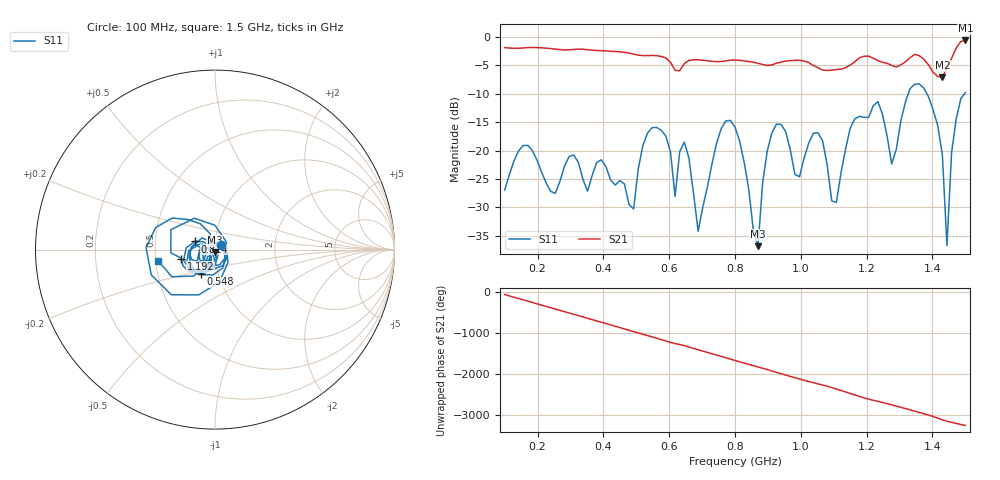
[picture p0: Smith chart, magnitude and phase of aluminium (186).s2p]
! NanoVNA-App
! Date: 2025-09-25 14:56:43
! Start: 100MHz Stop: 1,5GHz Points: 101
! S-Parameter data: F S11 S21 S12 S22
# Hz S RI R 50
!  Frequency  S11_Real  S11_Imag  S21_Real  S21_Imag  S12_Real  S12_Imag  S22_Real  S22_Imag
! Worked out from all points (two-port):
!   101 points, 100 MHz to 1.5 GHz, reference 50 ohm
!   highest |S21| = -0.66 dB at 1.5 GHz (marker M1); lowest = -7.1 dB at 1.43 GHz (marker M2)
!   |S21| within 3 dB of the highest: start of sweep to 586.8 MHz; 1.459 GHz to end of sweep (the widest 2 of 4)
!   lowest |S11| = -36.8 dB at 870 MHz (marker M3), VSWR 1.03, Z = 49.8 - j1.43 ohm
!   |S11| at or under -10 dB: start of sweep to 1.327 GHz; 1.383 GHz to 1.498 GHz (114.7 MHz wide, 7.97 % of centre)
!   S12 and S22 are empty: the file has one direction only
!   S11 on the Smith chart (normalised r, x): 100 MHz: 1.07, +0.06; 548 MHz: 0.82, -0.23; 814 MHz: 0.80, +0.07; 1.192 GHz: 0.68, -0.07; 1.5 GHz: 0.51, -0.07
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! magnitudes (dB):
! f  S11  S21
! 100 MHz  -27.0  -1.9
! 338 MHz  -25.0  -2.2
! 492 MHz  -30.3  -3.1
! 548 MHz  -16.0  -3.3
! 576 MHz  -16.5  -3.5
! 618 MHz  -28.1  -5.9
! 646 MHz  -18.5  -4.7
! 688 MHz  -34.2  -4.1
! 800 MHz  -15.9  -4.1
! 814 MHz  -18.3  -4.1
! 870 MHz  -36.8  -4.7
! 912 MHz  -16.9  -5.0
! 996 MHz  -24.6  -4.2
! 1.038 GHz  -17.0  -5.1
! 1.108 GHz  -29.1  -5.8
! 1.192 GHz  -14.2  -3.4
! 1.276 GHz  -22.3  -5.0
! 1.346 GHz  -8.4  -3.1
! 1.43 GHz  -20.7  -7.1
! 1.444 GHz  -36.7  -5.5
! 1.458 GHz  -20.4  -3.8
! 1.5 GHz  -9.8  -0.7
